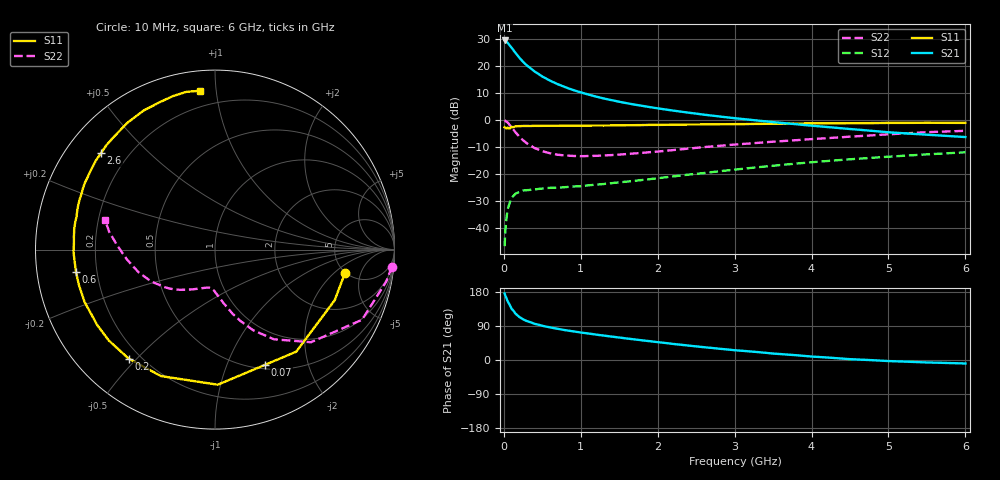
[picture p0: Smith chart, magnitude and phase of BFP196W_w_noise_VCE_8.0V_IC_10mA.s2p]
! (c) 2017  Infineon Technologies AG, Munich
! Infineon Technologies  Discrete & RF Semiconductors
! BFP196W
! VCE =  8.0 V,  IC =  10 mA
! Common Emitter S-Parameters:  Jan 2017
# GHz  S  MA  R  50
!  f  S11  S21  S12  S22
! GHz  MAG  ANG  MAG  ANG  MAG  ANG  MAG  ANG
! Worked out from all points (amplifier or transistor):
!   77 points, 10 MHz to 6 GHz, reference 50 ohm
!   highest |S21| = 29.5 dB at 10 MHz (marker M1)
!   |S21| within 3 dB of that: start of sweep to 109.7 MHz
!   unconditionally stable (mu >= 1): 1.268 GHz to 3.154 GHz
!   at 130 MHz: K = 0.15, MSG = 26.8 dB, |S12| = -27.9 dB
!   at 2.2 GHz: K = 1.09, MAG = 10.4 dB, |S12| = -20.9 dB
!   at 6 GHz: K = 0.87, MSG = 2.8 dB, |S12| = -11.9 dB
!   lowest NFmin = 0.91 dB at 450 MHz
!   S11 on the Smith chart (normalised r, x): 10 MHz: 4.90, -2.81; 70 MHz: 0.55, -1.38; 200 MHz: 0.16, -0.47; 600 MHz: 0.12, -0.08; 2.6 GHz: 0.10, +0.36; 6 GHz: 0.11, +0.90
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0.01  0.7356 -10.3  30 175.5  0.0046 84.5  0.9899 -5.5
0.02  0.7241 -22.9  29.38 169.4  0.009 81.4  0.971 -10.5
0.05  0.7269 -51.5  27.22 154.6  0.0222 66.7  0.9079 -25.5
0.07  0.6999 -66.6  24.88 147.9  0.0274 58.3  0.832 -32.0
0.1  0.7529 -88.8  22.16 135.4  0.0359 50.5  0.7431 -44.0
0.15  0.7663 -113.1  17.75 122.7  0.0432 40.1  0.5979 -56.7
0.2  0.7749 -128.4  14.44 113.8  0.0464 34.1  0.4968 -64.7
0.25  0.7789 -139.5  12.06 107.3  0.0496 30.2  0.423 -70.3
0.3  0.7793 -147.3  10.3 102.6  0.0502 28.0  0.3703 -74.7
0.4  0.7831 -158.1  7.961 95.5  0.0519 26.0  0.3033 -80.8
0.5  0.7835 -165.5  6.435 90.3  0.0539 25.5  0.2656 -85.1
0.6  0.7844 -171.0  5.402 86.0  0.0555 25.9  0.243 -88.7
0.7  0.7849 -175.3  4.64 82.3  0.0556 27.0  0.2281 -91.4
0.8  0.7886 -179.1  4.075 78.7  0.0572 29.5  0.2208 -94.0
1.1  0.7929 171.7  2.976 69.9  0.0618 33.3  0.2161 -100.9
1.5  0.8013 162.0  2.191 59.3  0.0703 39.5  0.2292 -110.1
2.1  0.8182 149.0  1.577 44.9  0.087 46.0  0.2695 -124.2
2.6  0.8323 139.7  1.263 33.8  0.1044 49.1  0.3159 -135.3
3.1  0.8445 131.2  1.051 24.3  0.1251 49.3  0.3606 -146.0
4.1  0.8712 115.9  0.767 7.9  0.1699 45.4  0.4534 -165.8
5.1  0.8874 104.3  0.583 -3.5  0.214 38.6  0.5555 176.0
6  0.889 95.4  0.485 -9.2  0.253 31.1  0.6339 164.9
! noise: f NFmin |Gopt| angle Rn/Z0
0.45  0.91  0.36  146  0.06
0.9  1.19  0.53  168  0.05
1.9  2.27  0.71  -158  0.1
2.4  2.77  0.76  -149  0.22
